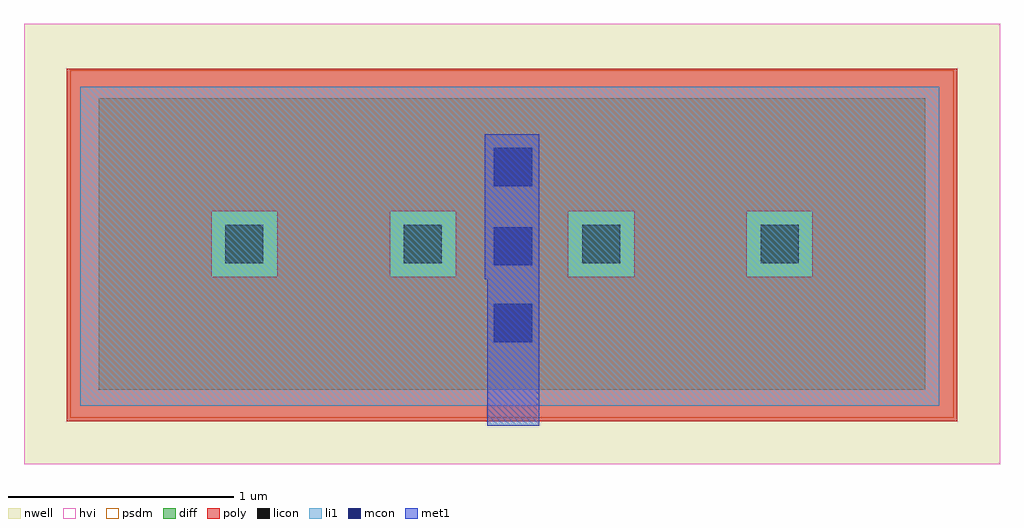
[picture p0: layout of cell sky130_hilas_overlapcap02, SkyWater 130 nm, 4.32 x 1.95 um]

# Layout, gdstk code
import gdstk
lib = gdstk.Library(unit=1e-6, precision=1e-09)
def R(c, l, rs):  # rectangles x0, y0, x1, y1
    for r in rs: c.add(gdstk.rectangle(r[:2], r[2:], *l))
def A(c, l, x, y, w, h, nx, ny, dx, dy):  # array of equal rectangles
    R(c, l, [(x+i*dx, y+j*dy, x+i*dx+w, y+j*dy+h) for i in range(nx) for j in range(ny)])
nwell = (64, 20)
diff = (65, 20)
poly = (66, 20)
licon = (66, 44)
li1 = (67, 20)
mcon = (67, 44)
met1 = (68, 20)
hvi = (75, 20)
psdm = (94, 20)

sky130_hilas_overlapcap0 = lib.new_cell('sky130_hilas_overlapcap02')
R(sky130_hilas_overlapcap0, nwell, [(-5.37,-0.69,-1.05,1.26)])
R(sky130_hilas_overlapcap0, diff, [(-5.04,-0.36,-1.38,0.93)])
A(sky130_hilas_overlapcap0, poly, -4.25, 0.14, 0.5, 0.29, 3, 1, 0.79, 0)
R(sky130_hilas_overlapcap0, poly, [(-5.18,-0.5,-1.24,0.14), (-5.18,0.14,-4.54,0.43), (-1.88,0.14,-1.24,0.43), (-5.18,0.43,-1.24,1.06)])
A(sky130_hilas_overlapcap0, licon, -4.48, 0.2, 0.17, 0.17, 4, 1, 0.79, 0)
R(sky130_hilas_overlapcap0, li1, [(-5.12,-0.43,-1.32,0.98)])
R(sky130_hilas_overlapcap0, mcon, [(-3.29,-0.15,-3.12,0.02), (-3.29,0.19,-3.12,0.36), (-3.29,0.54,-3.12,0.71)])
R(sky130_hilas_overlapcap0, met1, [(-3.32,-0.52,-3.09,0.13), (-3.33,0.13,-3.09,0.77)])
R(sky130_hilas_overlapcap0, hvi, [(-5.37,-0.69,-1.05,1.26)])
R(sky130_hilas_overlapcap0, psdm, [(-5.165,-0.485,-1.255,1.055)])

lib.write_gds('sky130_hilas_overlapcap02.gds')
